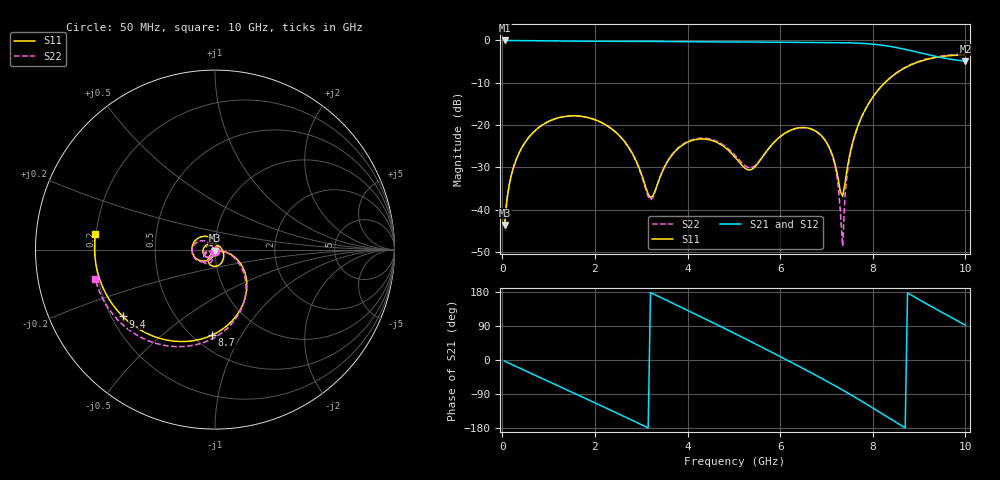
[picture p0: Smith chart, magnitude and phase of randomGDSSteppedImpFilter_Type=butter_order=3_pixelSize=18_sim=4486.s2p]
! freq	dB(S11)	phase(S11)	dB(S12)	phase(S12)
!  dB(S21)	phase(S21)	dB(S22)	phase(S22)
!S-par simulation data
#  GHz  S  DB  R 50
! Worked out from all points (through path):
!   200 points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, 50 MHz to 10 GHz, reference 50 ohm
!   highest |S21| = -0.01 dB at 50 MHz (marker M1); lowest = -4.9 dB at 10 GHz (marker M2)
!   group delay of S21, straight-line fit = 174 ps
!   lowest |S11| = -43.6 dB at 50 MHz (marker M3), VSWR 1.01, Z = 50 - j0.66 ohm
!   |S11| at or under -10 dB: start of sweep to 8.26 GHz
!   |S22| runs from -48.6 to -3.3 dB; largest |S21 - S12| = 0
!   S11 on the Smith chart (normalised r, x): 50 MHz: 1.00, -0.01; 8.7 GHz: 0.61, -0.76; 9.4 GHz: 0.25, -0.31; 10 GHz: 0.20, +0.06
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0.05  -43.60 -92.2  -0.01 -2.9  -0.01 -2.9  -43.60 -92.0
0.2  -31.61 -101.6  -0.02 -11.5  -0.02 -11.5  -31.61 -100.6
0.5  -23.95 -119.6  -0.05 -28.5  -0.05 -28.5  -23.95 -117.0
1.15  -18.46 -159.0  -0.14 -65.1  -0.14 -65.1  -18.47 -152.4
1.75  -17.99 164.5  -0.19 -98.8  -0.19 -98.8  -18.00 176.3
2.6  -23.35 107.6  -0.20 -147.2  -0.20 -147.2  -23.41 136.8
3.2  -37.12 -4.0  -0.23 177.9  -0.23 177.9  -37.67 -177.7
3.4  -32.48 -75.6  -0.24 166.2  -0.24 166.2  -32.39 -129.5
4.15  -23.46 -150.9  -0.32 122.1  -0.32 122.1  -23.29 -143.5
5.05  -27.87 121.6  -0.36 68.1  -0.36 68.1  -27.39 -163.3
5.4  -30.38 41.6  -0.37 46.6  -0.37 46.6  -29.95 -129.4
5.9  -23.70 -43.0  -0.42 15.4  -0.42 15.4  -23.74 -104.9
6.7  -21.03 -107.8  -0.50 -35.7  -0.50 -35.7  -21.07 -137.5
7.15  -27.80 -129.5  -0.53 -65.6  -0.53 -65.6  -28.14 -161.3
7.25  -32.48 -120.9  -0.54 -72.4  -0.54 -72.4  -33.91 -164.3
7.35  -36.83 -62.9  -0.55 -79.4  -0.55 -79.4  -48.59 -59.3
7.45  -30.08 -18.1  -0.57 -86.4  -0.57 -86.4  -31.19 -7.7
7.6  -22.77 -14.2  -0.61 -97.1  -0.61 -97.1  -22.97 -14.7
8.35  -9.09 -64.7  -1.38 -153.1  -1.38 -153.1  -9.02 -64.7
8.7  -6.44 -91.9  -2.11 -179.1  -2.11 -179.1  -6.35 -88.5
9.4  -3.95 -144.0  -3.85 132.0  -3.85 132.0  -3.81 -132.4
10  -3.46 172.5  -4.88 91.8  -4.88 91.8  -3.27 -166.3
